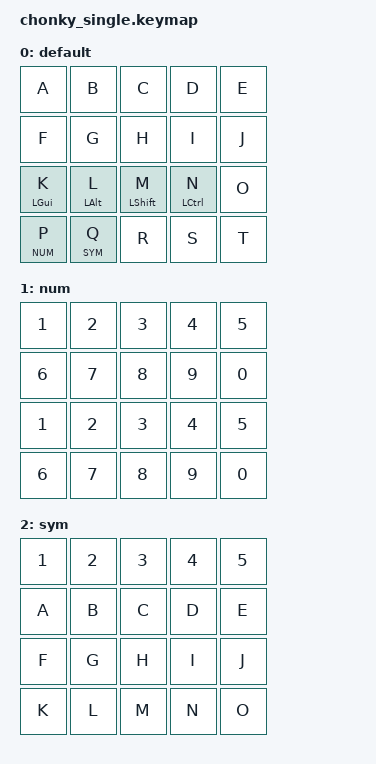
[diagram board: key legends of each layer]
#include <behaviors.dtsi>
#include <dt-bindings/zmk/keys.h>
#define DEFAULT 0
#define NUM     1
#define SYM     2


/ {
   behaviors {
             hm: homerow_mods {
                 compatible = "zmk,behavior-hold-tap";
                 label = "HOMEROW_MODS";
                 #binding-cells = <2>;
                 tapping-term-ms = <150>;
                 quick_tap_ms = <0>;
                 flavor = "tap-preferred";
                 bindings = <&kp>, <&kp>;
                 };
   };

    keymap {
        compatible = "zmk,keymap";
        default {
            bindings = <
    &kp A       &kp B       &kp C        &kp D       &kp E
    &kp F       &kp G       &kp H        &kp I       &kp J
    &hm LGUI K  &hm LALT L  &hm LSHIFT M &hm LCTL N  &kp O 
    &lt NUM P   &lt SYM Q       &kp R        &kp S       &kp T
            >;
        };
        num {
            bindings = <
    &kp N1   &kp N2   &kp N3   &kp N4    &kp N5
    &kp N6   &kp N7   &kp N8   &kp N9    &kp N0
    &kp N1   &kp N2   &kp N3   &kp N4    &kp N5
    &kp N6   &kp N7   &kp N8   &kp N9    &kp N0
            >;
        };
        sym {
            bindings = <
    &kp N1   &kp N2   &kp N3   &kp N4    &kp N5
    &kp A    &kp B    &kp C    &kp D     &kp E
    &kp F    &kp G    &kp H    &kp I     &kp J
    &kp K    &kp L    &kp M    &kp N     &kp O
            >;
        };


    };
};
/ {
    combos {
        compatible = "zmk,combos";
        combo_esc {
            timeout-ms = <50>;
            key-positions = <0 1>;
            bindings = <&kp ESC>;
        };
    };
};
